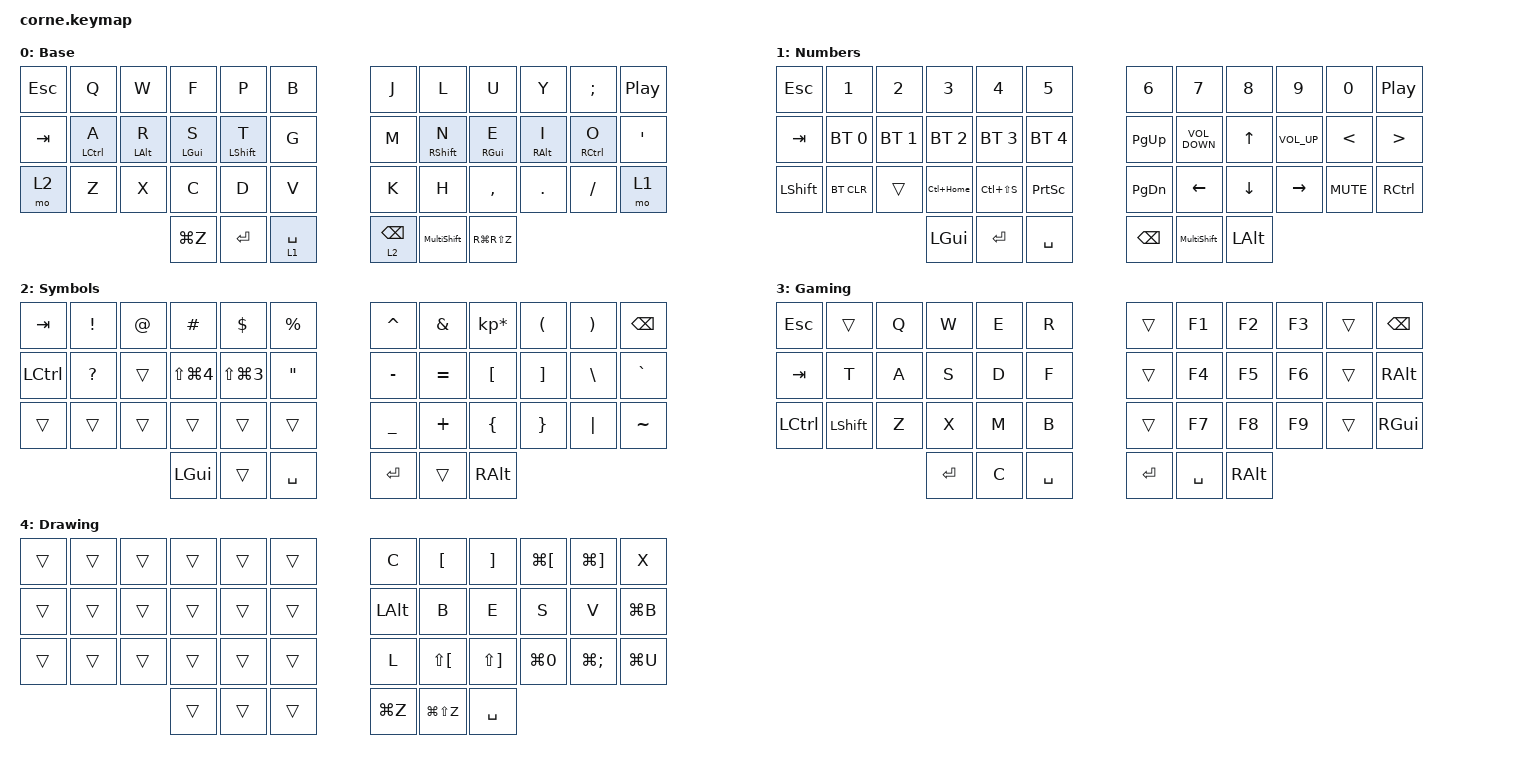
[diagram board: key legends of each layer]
/*
 * Copyright (c) 2020 The ZMK Contributors
 *
 * SPDX-License-Identifier: MIT
 */

#include <behaviors.dtsi>
#include <dt-bindings/zmk/bt.h>
#include <dt-bindings/zmk/keys.h>

/ {
    combos {
        compatible = "zmk,combos";

        Toggle1 {
            bindings = <&tog 1>;
            key-positions = <36 37>;
        };

        Toggle2 {
            bindings = <&tog 2>;
            key-positions = <41 40>;
        };

        EnterRight {
            bindings = <&kp ENTER>;
            key-positions = <19 39>;
        };

        EnterLeft {
            bindings = <&kp ENTER>;
            key-positions = <16 38>;
        };

        CopyR {
            bindings = <&kp RG(C)>;
            key-positions = <19 20>;
        };

        PasteR {
            bindings = <&kp RG(V)>;
            key-positions = <21 20>;
        };

        CopyL {
            bindings = <&kp LG(C)>;
            key-positions = <15 16>;
        };

        PasteL {
            bindings = <&kp LG(V)>;
            key-positions = <14 15>;
        };

        EnterDouble {
            bindings = <&kp ENTER>;
            key-positions = <16 19>;
        };

        ToggleGaming {
            bindings = <&tog 3>;
            key-positions = <36 37 38>;
        };

        ToggleDrawing {
            bindings = <&tog 4>;
            key-positions = <39 40 41>;
        };
    };

    behaviors {
        HRM_R: HRM_R {
            compatible = "zmk,behavior-hold-tap";
            label = "HRM_R";
            bindings = <&kp>, <&kp>;

            #binding-cells = <2>;
            tapping-term-ms = <280>;
            quick-tap-ms = <175>;
            flavor = "balanced";
            require-prior-idle-ms = <500>;
            hold-trigger-key-positions = <13 14 15 16 0 1 12 13 14 15 16 17 24 25 26 27 28 29 36 37 38 2 3 4 5 39 40 41>;
            hold-trigger-on-release;
        };

        HRM_L: HRM_L {
            compatible = "zmk,behavior-hold-tap";
            label = "HRM_L";
            bindings = <&kp>, <&kp>;

            #binding-cells = <2>;
            tapping-term-ms = <280>;
            quick-tap-ms = <175>;
            flavor = "balanced";
            require-prior-idle-ms = <500>;
            hold-trigger-on-release;
            hold-trigger-key-positions = <6 7 9 10 11 18 19 20 21 22 23 30 31 32 33 34 35 39 40 41 8 36 37 38>;
        };

        MultiShift: MultiShift {
            compatible = "zmk,behavior-mod-morph";
            label = "MULTISHIFT";
            bindings = <&StickyShiftRelease LEFT_SHIFT>, <&caps_word>;

            #binding-cells = <0>;
            mods = <(MOD_LSFT)>;
        };

        StickyShiftRelease: StickyShiftRelease {
            compatible = "zmk,behavior-sticky-key";
            label = "STICKYSHIFTRELEASE";
            bindings = <&sk>;
            #binding-cells = <1>;
            quick-release;
            release-after-ms = <2000>;
        };

        ThumbLayer: ThumbLayer {
            compatible = "zmk,behavior-hold-tap";
            label = "THUMBLAYER";
            bindings = <&mo>, <&kp>;

            #binding-cells = <2>;
            tapping-term-ms = <280>;
            quick-tap-ms = <175>;
            flavor = "balanced";
            require-prior-idle-ms = <500>;
            hold-trigger-on-release;
        };

        OyayubiShift: OyayubiShift {
            compatible = "zmk,behavior-hold-tap";
            label = "OYAYUBISHIFT";
            bindings = <&kp>, <&kp>;

            #binding-cells = <2>;
            tapping-term-ms = <280>;
            quick-tap-ms = <175>;
            flavor = "balanced";
            require-prior-idle-ms = <500>;
            hold-trigger-on-release;
        };

        Brush_Eraser: Brush_Eraser {
            compatible = "zmk,behavior-tap-dance";
            label = "BRUSH_ERASER";
            #binding-cells = <0>;
            bindings = <&kp E>, <&kp B>;
        };
    };

    keymap {
        compatible = "zmk,keymap";

        default_layer {
            // -----------------------------------------------------------------------------------------
            // |  TAB |  Q  |  W  |  E  |  R  |  T  |   |  Y  |  U   |  I  |  O  |  P  | BKSP |
            // | CTRL |  A  |  S  |  D  |  F  |  G  |   |  H  |  J   |  K  |  L  |  ;  |  '   |
            // | SHFT |  Z  |  X  |  C  |  V  |  B  |   |  N  |  M   |  ,  |  .  |  /  | ESC  |
            //                    | GUI | LWR | SPC |   | ENT | RSE  | ALT |

            display-name = "Base";
            bindings = <
&kp ESCAPE  &kp Q           &kp W              &kp F              &kp P                &kp B                  &kp J                    &kp L                 &kp U               &kp Y               &kp SEMICOLON   &kp C_PLAY_PAUSE
&kp TAB     &HRM_L LCTRL A  &HRM_L LEFT_ALT R  &HRM_L LEFT_GUI S  &HRM_L LEFT_SHIFT T  &kp G                  &kp M                    &HRM_R RIGHT_SHIFT N  &HRM_R RIGHT_GUI E  &HRM_R RIGHT_ALT I  &HRM_R RCTRL O  &kp SQT
&mo 2       &kp Z           &kp X              &kp C              &kp D                &kp V                  &kp K                    &kp H                 &kp COMMA           &kp DOT             &kp FSLH        &mo 1
                                               &kp LG(Z)          &kp ENTER            &ThumbLayer 1 SPACE    &ThumbLayer 2 BACKSPACE  &MultiShift           &kp RG(RS(Z))
            >;
        };

        lower_layer {
            // -----------------------------------------------------------------------------------------
            // |  TAB |  1  |  2  |  3  |  4  |  5  |   |  6  |  7  |  8  |  9  |  0  | BKSP |
            // | BTCLR| BT1 | BT2 | BT3 | BT4 | BT5 |   | LFT | DWN |  UP | RGT |     |      |
            // | SHFT |     |     |     |     |     |   |     |     |     |     |     |      |
            //                    | GUI |     | SPC |   | ENT |     | ALT |

            display-name = "Numbers";
            bindings = <
&kp ESCAPE      &kp N1        &kp N2        &kp N3        &kp N4         &kp N5             &kp N6         &kp N7             &kp N8        &kp N9           &kp N0         &kp C_PLAY_PAUSE
&kp TAB         &bt BT_SEL 0  &bt BT_SEL 1  &bt BT_SEL 2  &bt BT_SEL 3   &bt BT_SEL 4       &kp PAGE_UP    &kp C_VOLUME_DOWN  &kp UP        &kp C_VOLUME_UP  &kp LESS_THAN  &kp GREATER_THAN
&kp LEFT_SHIFT  &bt BT_CLR    &trans        &kp LC(HOME)  &kp LC(LS(S))  &kp PRINTSCREEN    &kp PAGE_DOWN  &kp LEFT           &kp DOWN      &kp RIGHT        &kp C_MUTE     &kp RCTRL
                                            &kp LEFT_GUI  &kp ENTER      &kp SPACE          &kp BACKSPACE  &MultiShift        &kp LEFT_ALT
            >;
        };

        raise_layer {
            // -----------------------------------------------------------------------------------------
            // |  TAB |  !  |  @  |  #  |  $  |  %  |   |  ^  |  &  |  *  |  (  |  )  | BKSP |
            // | CTRL |     |     |     |     |     |   |  -  |  =  |  [  |  ]  |  \  |  `   |
            // | SHFT |     |     |     |     |     |   |  _  |  +  |  {  |  }  | "|" |  ~   |
            //                    | GUI |     | SPC |   | ENT |     | ALT |

            display-name = "Symbols";
            bindings = <
&kp TAB    &kp EXCL      &kp AT  &kp HASH              &kp DLLR              &kp PRCNT            &kp CARET  &kp AMPS   &kp KP_MULTIPLY  &kp LPAR  &kp RPAR  &kp BSPC
&kp LCTRL  &kp QUESTION  &trans  &kp LS(LG(NUMBER_4))  &kp LS(LG(NUMBER_3))  &kp DOUBLE_QUOTES    &kp MINUS  &kp EQUAL  &kp LBKT         &kp RBKT  &kp BSLH  &kp GRAVE
&trans     &trans        &trans  &trans                &trans                &trans               &kp UNDER  &kp PLUS   &kp LBRC         &kp RBRC  &kp PIPE  &kp TILDE
                                 &kp LGUI              &trans                &kp SPACE            &kp RET    &trans     &kp RALT
            >;
        };

        Gaming {
            display-name = "Gaming";
            bindings = <
&kp ESC    &trans      &kp Q  &kp W      &kp E  &kp R        &trans   &kp F1     &kp F2    &kp F3  &trans  &kp BSPC
&kp TAB    &kp T       &kp A  &kp S      &kp D  &kp F        &trans   &kp F4     &kp F5    &kp F6  &trans  &kp RIGHT_ALT
&kp LCTRL  &kp LSHIFT  &kp Z  &kp X      &kp M  &kp B        &trans   &kp F7     &kp F8    &kp F9  &trans  &kp RIGHT_GUI
                              &kp ENTER  &kp C  &kp SPACE    &kp RET  &kp SPACE  &kp RALT
            >;
        };

        Drawing {
            bindings = <
&trans  &trans  &trans  &trans  &trans  &trans    &kp C      &kp LEFT_BRACKET      &kp RIGHT_BRACKET      &kp LG(LEFT_BRACKET)  &kp LG(RIGHT_BRACKET)  &kp X
&trans  &trans  &trans  &trans  &trans  &trans    &kp LALT   &kp B                 &kp E                  &kp S                 &kp V                  &kp LG(B)
&trans  &trans  &trans  &trans  &trans  &trans    &kp L      &kp LS(LEFT_BRACKET)  &kp LS(RIGHT_BRACKET)  &kp LG(NUMBER_0)      &kp LG(SEMICOLON)      &kp LG(U)
                        &trans  &trans  &trans    &kp LG(Z)  &kp LG(LS(Z))         &kp SPACE
            >;
        };
    };
};
